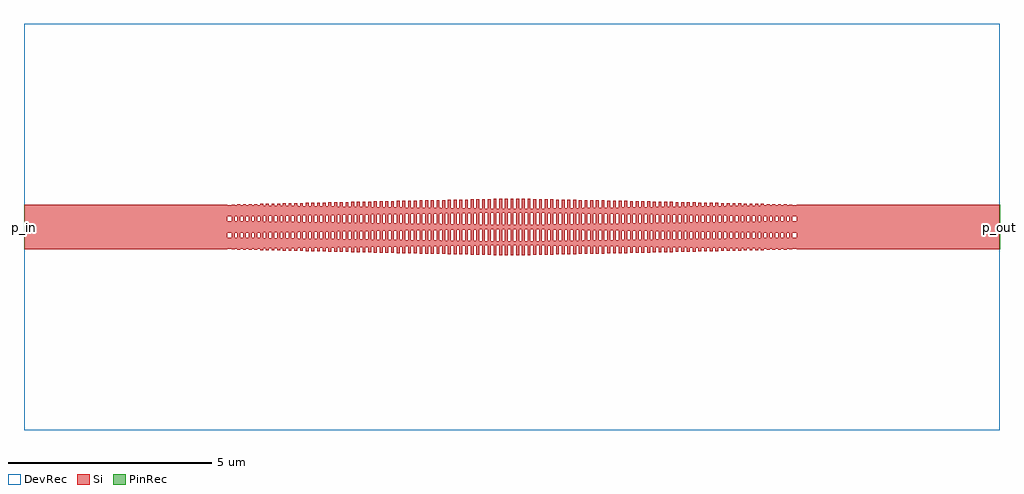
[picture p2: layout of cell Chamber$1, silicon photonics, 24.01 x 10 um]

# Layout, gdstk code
import gdstk
lib = gdstk.Library(unit=1e-6, precision=1e-09)
def R(c, l, rs):  # rectangles x0, y0, x1, y1
    for r in rs: c.add(gdstk.rectangle(r[:2], r[2:], *l))
def P(c, l, *ps):  # polygons
    for p in ps: c.add(gdstk.Polygon(p, *l))
Si = (1, 0)
PinRec = (1, 10)
DevRec = (68, 0)

u_corr50_2_1 = lib.new_cell('U_corr50$2$1')
R(u_corr50_2_1, Si, [(11.965,-0.7,12.035,0.7)])

u_corr98_1 = lib.new_cell('U_corr98$1')
R(u_corr98_1, Si, [(18.685,-0.556,18.755,0.556)])

u_corr97_1 = lib.new_cell('U_corr97$1')
R(u_corr97_1, Si, [(18.545,-0.559,18.615,0.559)])

u_corr96_1 = lib.new_cell('U_corr96$1')
R(u_corr96_1, Si, [(18.405,-0.562,18.475,0.562)])

u_corr95_1 = lib.new_cell('U_corr95$1')
R(u_corr95_1, Si, [(18.265,-0.565,18.335,0.565)])

u_corr94_1 = lib.new_cell('U_corr94$1')
R(u_corr94_1, Si, [(18.125,-0.568,18.195,0.568)])

u_corr93_1 = lib.new_cell('U_corr93$1')
R(u_corr93_1, Si, [(17.985,-0.571,18.055,0.571)])

u_corr92_1 = lib.new_cell('U_corr92$1')
R(u_corr92_1, Si, [(17.845,-0.574,17.915,0.574)])

u_corr91_1 = lib.new_cell('U_corr91$1')
R(u_corr91_1, Si, [(17.705,-0.577,17.775,0.577)])

u_corr90_1 = lib.new_cell('U_corr90$1')
R(u_corr90_1, Si, [(17.565,-0.58,17.635,0.58)])

u_corr89_1 = lib.new_cell('U_corr89$1')
R(u_corr89_1, Si, [(17.425,-0.583,17.495,0.583)])

u_corr88_1 = lib.new_cell('U_corr88$1')
R(u_corr88_1, Si, [(17.285,-0.586,17.355,0.586)])

u_corr87_1 = lib.new_cell('U_corr87$1')
R(u_corr87_1, Si, [(17.145,-0.589,17.215,0.589)])

u_corr86_1 = lib.new_cell('U_corr86$1')
R(u_corr86_1, Si, [(17.005,-0.592,17.075,0.592)])

u_corr85_1 = lib.new_cell('U_corr85$1')
R(u_corr85_1, Si, [(16.865,-0.595,16.935,0.595)])

u_corr84_1 = lib.new_cell('U_corr84$1')
R(u_corr84_1, Si, [(16.725,-0.598,16.795,0.598)])

u_corr83_1 = lib.new_cell('U_corr83$1')
R(u_corr83_1, Si, [(16.585,-0.601,16.655,0.601)])

u_corr82_1 = lib.new_cell('U_corr82$1')
R(u_corr82_1, Si, [(16.445,-0.604,16.515,0.604)])

u_corr81_1 = lib.new_cell('U_corr81$1')
R(u_corr81_1, Si, [(16.305,-0.607,16.375,0.607)])

u_corr80_2_1 = lib.new_cell('U_corr80$2$1')
R(u_corr80_2_1, Si, [(16.165,-0.61,16.235,0.61)])

u_corr79_2_1 = lib.new_cell('U_corr79$2$1')
R(u_corr79_2_1, Si, [(16.025,-0.613,16.095,0.613)])

u_corr78_2_1 = lib.new_cell('U_corr78$2$1')
R(u_corr78_2_1, Si, [(15.885,-0.616,15.955,0.616)])

u_corr77_2_1 = lib.new_cell('U_corr77$2$1')
R(u_corr77_2_1, Si, [(15.745,-0.619,15.815,0.619)])

u_corr76_2_1 = lib.new_cell('U_corr76$2$1')
R(u_corr76_2_1, Si, [(15.605,-0.622,15.675,0.622)])

u_corr75_2_1 = lib.new_cell('U_corr75$2$1')
R(u_corr75_2_1, Si, [(15.465,-0.625,15.535,0.625)])

u_corr74_2_1 = lib.new_cell('U_corr74$2$1')
R(u_corr74_2_1, Si, [(15.325,-0.628,15.395,0.628)])

u_corr73_2_1 = lib.new_cell('U_corr73$2$1')
R(u_corr73_2_1, Si, [(15.185,-0.631,15.255,0.631)])

u_corr72_2_1 = lib.new_cell('U_corr72$2$1')
R(u_corr72_2_1, Si, [(15.045,-0.634,15.115,0.634)])

u_corr71_2_1 = lib.new_cell('U_corr71$2$1')
R(u_corr71_2_1, Si, [(14.905,-0.637,14.975,0.637)])

u_corr70_2_1 = lib.new_cell('U_corr70$2$1')
R(u_corr70_2_1, Si, [(14.765,-0.64,14.835,0.64)])

u_corr69_2_1 = lib.new_cell('U_corr69$2$1')
R(u_corr69_2_1, Si, [(14.625,-0.643,14.695,0.643)])

u_corr68_2_1 = lib.new_cell('U_corr68$2$1')
R(u_corr68_2_1, Si, [(14.485,-0.646,14.555,0.646)])

u_corr67_2_1 = lib.new_cell('U_corr67$2$1')
R(u_corr67_2_1, Si, [(14.345,-0.649,14.415,0.649)])

u_corr66_2_1 = lib.new_cell('U_corr66$2$1')
R(u_corr66_2_1, Si, [(14.205,-0.652,14.275,0.652)])

u_corr65_2_1 = lib.new_cell('U_corr65$2$1')
R(u_corr65_2_1, Si, [(14.065,-0.655,14.135,0.655)])

u_corr64_2_1 = lib.new_cell('U_corr64$2$1')
R(u_corr64_2_1, Si, [(13.925,-0.658,13.995,0.658)])

u_corr63_2_1 = lib.new_cell('U_corr63$2$1')
R(u_corr63_2_1, Si, [(13.785,-0.661,13.855,0.661)])

u_corr62_2_1 = lib.new_cell('U_corr62$2$1')
R(u_corr62_2_1, Si, [(13.645,-0.664,13.715,0.664)])

u_corr61_2_1 = lib.new_cell('U_corr61$2$1')
R(u_corr61_2_1, Si, [(13.505,-0.667,13.575,0.667)])

u_corr60_2_1 = lib.new_cell('U_corr60$2$1')
R(u_corr60_2_1, Si, [(13.365,-0.67,13.435,0.67)])

u_corr59_2_1 = lib.new_cell('U_corr59$2$1')
R(u_corr59_2_1, Si, [(13.225,-0.673,13.295,0.673)])

u_corr58_2_1 = lib.new_cell('U_corr58$2$1')
R(u_corr58_2_1, Si, [(13.085,-0.676,13.155,0.676)])

u_corr57_2_1 = lib.new_cell('U_corr57$2$1')
R(u_corr57_2_1, Si, [(12.945,-0.679,13.015,0.679)])

u_corr56_2_1 = lib.new_cell('U_corr56$2$1')
R(u_corr56_2_1, Si, [(12.805,-0.682,12.875,0.682)])

u_corr55_2_1 = lib.new_cell('U_corr55$2$1')
R(u_corr55_2_1, Si, [(12.665,-0.685,12.735,0.685)])

u_corr54_2_1 = lib.new_cell('U_corr54$2$1')
R(u_corr54_2_1, Si, [(12.525,-0.688,12.595,0.688)])

u_corr53_2_1 = lib.new_cell('U_corr53$2$1')
R(u_corr53_2_1, Si, [(12.385,-0.691,12.455,0.691)])

u_corr52_2_1 = lib.new_cell('U_corr52$2$1')
R(u_corr52_2_1, Si, [(12.245,-0.694,12.315,0.694)])

u_corr51_2_1 = lib.new_cell('U_corr51$2$1')
R(u_corr51_2_1, Si, [(12.105,-0.697,12.175,0.697)])

u_corr99_1 = lib.new_cell('U_corr99$1')
R(u_corr99_1, Si, [(18.825,-0.553,18.895,0.553)])

wg_out_2_1 = lib.new_cell('wg_Out$2$1')
R(wg_out_2_1, Si, [(19,-0.55,24,0.55)])

taper_out3_1 = lib.new_cell('taper_out3$1')
P(taper_out3_1, Si, [(19,0.25),(12,0.35),(12,0.45),(19,0.55)])

taper_out2_1 = lib.new_cell('taper_out2$1')
P(taper_out2_1, Si, [(19,-0.15),(12,-0.05),(12,0.05),(19,0.15)])

taper_out1_1 = lib.new_cell('taper_out1$1')
P(taper_out1_1, Si, [(19,-0.55),(12,-0.45),(12,-0.35),(19,-0.25)])

u_corr45_2_1 = lib.new_cell('U_corr45$2$1')
R(u_corr45_2_1, Si, [(11.265,-0.685,11.335,0.685)])

u_corr44_2_1 = lib.new_cell('U_corr44$2$1')
R(u_corr44_2_1, Si, [(11.125,-0.682,11.195,0.682)])

u_corr43_2_1 = lib.new_cell('U_corr43$2$1')
R(u_corr43_2_1, Si, [(10.985,-0.679,11.055,0.679)])

u_corr42_2_1 = lib.new_cell('U_corr42$2$1')
R(u_corr42_2_1, Si, [(10.845,-0.676,10.915,0.676)])

u_corr41_2_1 = lib.new_cell('U_corr41$2$1')
R(u_corr41_2_1, Si, [(10.705,-0.673,10.775,0.673)])

u_corr40_2_1 = lib.new_cell('U_corr40$2$1')
R(u_corr40_2_1, Si, [(10.565,-0.67,10.635,0.67)])

u_corr39_2_1 = lib.new_cell('U_corr39$2$1')
R(u_corr39_2_1, Si, [(10.425,-0.667,10.495,0.667)])

u_corr38_2_1 = lib.new_cell('U_corr38$2$1')
R(u_corr38_2_1, Si, [(10.285,-0.664,10.355,0.664)])

u_corr37_2_1 = lib.new_cell('U_corr37$2$1')
R(u_corr37_2_1, Si, [(10.145,-0.661,10.215,0.661)])

u_corr36_2_1 = lib.new_cell('U_corr36$2$1')
R(u_corr36_2_1, Si, [(10.005,-0.658,10.075,0.658)])

u_corr35_2_1 = lib.new_cell('U_corr35$2$1')
R(u_corr35_2_1, Si, [(9.865,-0.655,9.935,0.655)])

u_corr34_2_1 = lib.new_cell('U_corr34$2$1')
R(u_corr34_2_1, Si, [(9.725,-0.652,9.795,0.652)])

u_corr33_2_1 = lib.new_cell('U_corr33$2$1')
R(u_corr33_2_1, Si, [(9.585,-0.649,9.655,0.649)])

u_corr32_2_1 = lib.new_cell('U_corr32$2$1')
R(u_corr32_2_1, Si, [(9.445,-0.646,9.515,0.646)])

u_corr31_2_1 = lib.new_cell('U_corr31$2$1')
R(u_corr31_2_1, Si, [(9.305,-0.643,9.375,0.643)])

u_corr30_2_1 = lib.new_cell('U_corr30$2$1')
R(u_corr30_2_1, Si, [(9.165,-0.64,9.235,0.64)])

u_corr29_2_1 = lib.new_cell('U_corr29$2$1')
R(u_corr29_2_1, Si, [(9.025,-0.637,9.095,0.637)])

u_corr28_2_1 = lib.new_cell('U_corr28$2$1')
R(u_corr28_2_1, Si, [(8.885,-0.634,8.955,0.634)])

u_corr27_2_1 = lib.new_cell('U_corr27$2$1')
R(u_corr27_2_1, Si, [(8.745,-0.631,8.815,0.631)])

u_corr26_2_1 = lib.new_cell('U_corr26$2$1')
R(u_corr26_2_1, Si, [(8.605,-0.628,8.675,0.628)])

u_corr25_2_1 = lib.new_cell('U_corr25$2$1')
R(u_corr25_2_1, Si, [(8.465,-0.625,8.535,0.625)])

u_corr24_2_1 = lib.new_cell('U_corr24$2$1')
R(u_corr24_2_1, Si, [(8.325,-0.622,8.395,0.622)])

u_corr23_2_1 = lib.new_cell('U_corr23$2$1')
R(u_corr23_2_1, Si, [(8.185,-0.619,8.255,0.619)])

u_corr22_2_1 = lib.new_cell('U_corr22$2$1')
R(u_corr22_2_1, Si, [(8.045,-0.616,8.115,0.616)])

u_corr21_2_1 = lib.new_cell('U_corr21$2$1')
R(u_corr21_2_1, Si, [(7.905,-0.613,7.975,0.613)])

u_corr20_2_1 = lib.new_cell('U_corr20$2$1')
R(u_corr20_2_1, Si, [(7.765,-0.61,7.835,0.61)])

u_corr19_2_1 = lib.new_cell('U_corr19$2$1')
R(u_corr19_2_1, Si, [(7.625,-0.607,7.695,0.607)])

u_corr18_2_1 = lib.new_cell('U_corr18$2$1')
R(u_corr18_2_1, Si, [(7.485,-0.604,7.555,0.604)])

u_corr17_2_1 = lib.new_cell('U_corr17$2$1')
R(u_corr17_2_1, Si, [(7.345,-0.601,7.415,0.601)])

u_corr16_2_1 = lib.new_cell('U_corr16$2$1')
R(u_corr16_2_1, Si, [(7.205,-0.598,7.275,0.598)])

u_corr15_2_1 = lib.new_cell('U_corr15$2$1')
R(u_corr15_2_1, Si, [(7.065,-0.595,7.135,0.595)])

u_corr14_2_1 = lib.new_cell('U_corr14$2$1')
R(u_corr14_2_1, Si, [(6.925,-0.592,6.995,0.592)])

u_corr13_2_1 = lib.new_cell('U_corr13$2$1')
R(u_corr13_2_1, Si, [(6.785,-0.589,6.855,0.589)])

u_corr12_2_1 = lib.new_cell('U_corr12$2$1')
R(u_corr12_2_1, Si, [(6.645,-0.586,6.715,0.586)])

u_corr11_2_1 = lib.new_cell('U_corr11$2$1')
R(u_corr11_2_1, Si, [(6.505,-0.583,6.575,0.583)])

u_corr10_2_1 = lib.new_cell('U_corr10$2$1')
R(u_corr10_2_1, Si, [(6.365,-0.58,6.435,0.58)])

u_corr9_2_1 = lib.new_cell('U_corr9$2$1')
R(u_corr9_2_1, Si, [(6.225,-0.577,6.295,0.577)])

u_corr8_2_1 = lib.new_cell('U_corr8$2$1')
R(u_corr8_2_1, Si, [(6.085,-0.574,6.155,0.574)])

u_corr7_2_1 = lib.new_cell('U_corr7$2$1')
R(u_corr7_2_1, Si, [(5.945,-0.571,6.015,0.571)])

u_corr6_2_1 = lib.new_cell('U_corr6$2$1')
R(u_corr6_2_1, Si, [(5.805,-0.568,5.875,0.568)])

u_corr5_2_1 = lib.new_cell('U_corr5$2$1')
R(u_corr5_2_1, Si, [(5.665,-0.565,5.735,0.565)])

u_corr4_2_1 = lib.new_cell('U_corr4$2$1')
R(u_corr4_2_1, Si, [(5.525,-0.562,5.595,0.562)])

u_corr3_2_1 = lib.new_cell('U_corr3$2$1')
R(u_corr3_2_1, Si, [(5.385,-0.559,5.455,0.559)])

u_corr2_2_1 = lib.new_cell('U_corr2$2$1')
R(u_corr2_2_1, Si, [(5.245,-0.556,5.315,0.556)])

u_corr1_2_1 = lib.new_cell('U_corr1$2$1')
R(u_corr1_2_1, Si, [(5.105,-0.553,5.175,0.553)])

u_corr49_2_1 = lib.new_cell('U_corr49$2$1')
R(u_corr49_2_1, Si, [(11.825,-0.697,11.895,0.697)])

u_corr48_2_1 = lib.new_cell('U_corr48$2$1')
R(u_corr48_2_1, Si, [(11.685,-0.694,11.755,0.694)])

u_corr47_2_1 = lib.new_cell('U_corr47$2$1')
R(u_corr47_2_1, Si, [(11.545,-0.691,11.615,0.691)])

u_corr46_2_1 = lib.new_cell('U_corr46$2$1')
R(u_corr46_2_1, Si, [(11.405,-0.688,11.475,0.688)])

taper_3_2 = lib.new_cell('taper_3$2')
P(taper_3_2, Si, [(5,0.25),(5,0.55),(12,0.45),(12,0.35)])

taper_2_2 = lib.new_cell('taper_2$2')
P(taper_2_2, Si, [(5,-0.15),(5,0.15),(12,0.05),(12,-0.05)])

taper_1_2 = lib.new_cell('taper_1$2')
P(taper_1_2, Si, [(5,-0.55),(5,-0.25),(12,-0.35),(12,-0.45)])

wg_in_2_1 = lib.new_cell('wg_In$2$1')
R(wg_in_2_1, Si, [(0,-0.55,5,0.55)])

mm_bragg_2_1 = lib.new_cell('MM_Bragg$2$1')
mm_bragg_2_1.add(gdstk.Reference(u_corr50_2_1, (0,0)))
mm_bragg_2_1.add(gdstk.Reference(u_corr98_1, (0,0)))
mm_bragg_2_1.add(gdstk.Reference(u_corr97_1, (0,0)))
mm_bragg_2_1.add(gdstk.Reference(u_corr96_1, (0,0)))
mm_bragg_2_1.add(gdstk.Reference(u_corr95_1, (0,0)))
mm_bragg_2_1.add(gdstk.Reference(u_corr94_1, (0,0)))
mm_bragg_2_1.add(gdstk.Reference(u_corr93_1, (0,0)))
mm_bragg_2_1.add(gdstk.Reference(u_corr92_1, (0,0)))
mm_bragg_2_1.add(gdstk.Reference(u_corr91_1, (0,0)))
mm_bragg_2_1.add(gdstk.Reference(u_corr90_1, (0,0)))
mm_bragg_2_1.add(gdstk.Reference(u_corr89_1, (0,0)))
mm_bragg_2_1.add(gdstk.Reference(u_corr88_1, (0,0)))
mm_bragg_2_1.add(gdstk.Reference(u_corr87_1, (0,0)))
mm_bragg_2_1.add(gdstk.Reference(u_corr86_1, (0,0)))
mm_bragg_2_1.add(gdstk.Reference(u_corr85_1, (0,0)))
mm_bragg_2_1.add(gdstk.Reference(u_corr84_1, (0,0)))
mm_bragg_2_1.add(gdstk.Reference(u_corr83_1, (0,0)))
mm_bragg_2_1.add(gdstk.Reference(u_corr82_1, (0,0)))
mm_bragg_2_1.add(gdstk.Reference(u_corr81_1, (0,0)))
mm_bragg_2_1.add(gdstk.Reference(u_corr80_2_1, (0,0)))
mm_bragg_2_1.add(gdstk.Reference(u_corr79_2_1, (0,0)))
mm_bragg_2_1.add(gdstk.Reference(u_corr78_2_1, (0,0)))
mm_bragg_2_1.add(gdstk.Reference(u_corr77_2_1, (0,0)))
mm_bragg_2_1.add(gdstk.Reference(u_corr76_2_1, (0,0)))
mm_bragg_2_1.add(gdstk.Reference(u_corr75_2_1, (0,0)))
mm_bragg_2_1.add(gdstk.Reference(u_corr74_2_1, (0,0)))
mm_bragg_2_1.add(gdstk.Reference(u_corr73_2_1, (0,0)))
mm_bragg_2_1.add(gdstk.Reference(u_corr72_2_1, (0,0)))
mm_bragg_2_1.add(gdstk.Reference(u_corr71_2_1, (0,0)))
mm_bragg_2_1.add(gdstk.Reference(u_corr70_2_1, (0,0)))
mm_bragg_2_1.add(gdstk.Reference(u_corr69_2_1, (0,0)))
mm_bragg_2_1.add(gdstk.Reference(u_corr68_2_1, (0,0)))
mm_bragg_2_1.add(gdstk.Reference(u_corr67_2_1, (0,0)))
mm_bragg_2_1.add(gdstk.Reference(u_corr66_2_1, (0,0)))
mm_bragg_2_1.add(gdstk.Reference(u_corr65_2_1, (0,0)))
mm_bragg_2_1.add(gdstk.Reference(u_corr64_2_1, (0,0)))
mm_bragg_2_1.add(gdstk.Reference(u_corr63_2_1, (0,0)))
mm_bragg_2_1.add(gdstk.Reference(u_corr62_2_1, (0,0)))
mm_bragg_2_1.add(gdstk.Reference(u_corr61_2_1, (0,0)))
mm_bragg_2_1.add(gdstk.Reference(u_corr60_2_1, (0,0)))
mm_bragg_2_1.add(gdstk.Reference(u_corr59_2_1, (0,0)))
mm_bragg_2_1.add(gdstk.Reference(u_corr58_2_1, (0,0)))
mm_bragg_2_1.add(gdstk.Reference(u_corr57_2_1, (0,0)))
mm_bragg_2_1.add(gdstk.Reference(u_corr56_2_1, (0,0)))
mm_bragg_2_1.add(gdstk.Reference(u_corr55_2_1, (0,0)))
mm_bragg_2_1.add(gdstk.Reference(u_corr54_2_1, (0,0)))
mm_bragg_2_1.add(gdstk.Reference(u_corr53_2_1, (0,0)))
mm_bragg_2_1.add(gdstk.Reference(u_corr52_2_1, (0,0)))
mm_bragg_2_1.add(gdstk.Reference(u_corr51_2_1, (0,0)))
mm_bragg_2_1.add(gdstk.Reference(u_corr99_1, (0,0)))
mm_bragg_2_1.add(gdstk.Reference(wg_out_2_1, (0,0)))
mm_bragg_2_1.add(gdstk.Reference(taper_out3_1, (0,0)))
mm_bragg_2_1.add(gdstk.Reference(taper_out2_1, (0,0)))
mm_bragg_2_1.add(gdstk.Reference(taper_out1_1, (0,0)))
mm_bragg_2_1.add(gdstk.Reference(u_corr45_2_1, (0,0)))
mm_bragg_2_1.add(gdstk.Reference(u_corr44_2_1, (0,0)))
mm_bragg_2_1.add(gdstk.Reference(u_corr43_2_1, (0,0)))
mm_bragg_2_1.add(gdstk.Reference(u_corr42_2_1, (0,0)))
mm_bragg_2_1.add(gdstk.Reference(u_corr41_2_1, (0,0)))
mm_bragg_2_1.add(gdstk.Reference(u_corr40_2_1, (0,0)))
mm_bragg_2_1.add(gdstk.Reference(u_corr39_2_1, (0,0)))
mm_bragg_2_1.add(gdstk.Reference(u_corr38_2_1, (0,0)))
mm_bragg_2_1.add(gdstk.Reference(u_corr37_2_1, (0,0)))
mm_bragg_2_1.add(gdstk.Reference(u_corr36_2_1, (0,0)))
mm_bragg_2_1.add(gdstk.Reference(u_corr35_2_1, (0,0)))
mm_bragg_2_1.add(gdstk.Reference(u_corr34_2_1, (0,0)))
mm_bragg_2_1.add(gdstk.Reference(u_corr33_2_1, (0,0)))
mm_bragg_2_1.add(gdstk.Reference(u_corr32_2_1, (0,0)))
mm_bragg_2_1.add(gdstk.Reference(u_corr31_2_1, (0,0)))
mm_bragg_2_1.add(gdstk.Reference(u_corr30_2_1, (0,0)))
mm_bragg_2_1.add(gdstk.Reference(u_corr29_2_1, (0,0)))
mm_bragg_2_1.add(gdstk.Reference(u_corr28_2_1, (0,0)))
mm_bragg_2_1.add(gdstk.Reference(u_corr27_2_1, (0,0)))
mm_bragg_2_1.add(gdstk.Reference(u_corr26_2_1, (0,0)))
mm_bragg_2_1.add(gdstk.Reference(u_corr25_2_1, (0,0)))
mm_bragg_2_1.add(gdstk.Reference(u_corr24_2_1, (0,0)))
mm_bragg_2_1.add(gdstk.Reference(u_corr23_2_1, (0,0)))
mm_bragg_2_1.add(gdstk.Reference(u_corr22_2_1, (0,0)))
mm_bragg_2_1.add(gdstk.Reference(u_corr21_2_1, (0,0)))
mm_bragg_2_1.add(gdstk.Reference(u_corr20_2_1, (0,0)))
mm_bragg_2_1.add(gdstk.Reference(u_corr19_2_1, (0,0)))
mm_bragg_2_1.add(gdstk.Reference(u_corr18_2_1, (0,0)))
mm_bragg_2_1.add(gdstk.Reference(u_corr17_2_1, (0,0)))
mm_bragg_2_1.add(gdstk.Reference(u_corr16_2_1, (0,0)))
mm_bragg_2_1.add(gdstk.Reference(u_corr15_2_1, (0,0)))
mm_bragg_2_1.add(gdstk.Reference(u_corr14_2_1, (0,0)))
mm_bragg_2_1.add(gdstk.Reference(u_corr13_2_1, (0,0)))
mm_bragg_2_1.add(gdstk.Reference(u_corr12_2_1, (0,0)))
mm_bragg_2_1.add(gdstk.Reference(u_corr11_2_1, (0,0)))
mm_bragg_2_1.add(gdstk.Reference(u_corr10_2_1, (0,0)))
mm_bragg_2_1.add(gdstk.Reference(u_corr9_2_1, (0,0)))
mm_bragg_2_1.add(gdstk.Reference(u_corr8_2_1, (0,0)))
mm_bragg_2_1.add(gdstk.Reference(u_corr7_2_1, (0,0)))
mm_bragg_2_1.add(gdstk.Reference(u_corr6_2_1, (0,0)))
mm_bragg_2_1.add(gdstk.Reference(u_corr5_2_1, (0,0)))
mm_bragg_2_1.add(gdstk.Reference(u_corr4_2_1, (0,0)))
mm_bragg_2_1.add(gdstk.Reference(u_corr3_2_1, (0,0)))
mm_bragg_2_1.add(gdstk.Reference(u_corr2_2_1, (0,0)))
mm_bragg_2_1.add(gdstk.Reference(u_corr1_2_1, (0,0)))
mm_bragg_2_1.add(gdstk.Reference(u_corr49_2_1, (0,0)))
mm_bragg_2_1.add(gdstk.Reference(u_corr48_2_1, (0,0)))
mm_bragg_2_1.add(gdstk.Reference(u_corr47_2_1, (0,0)))
mm_bragg_2_1.add(gdstk.Reference(u_corr46_2_1, (0,0)))
mm_bragg_2_1.add(gdstk.Reference(taper_3_2, (0,0)))
mm_bragg_2_1.add(gdstk.Reference(taper_2_2, (0,0)))
mm_bragg_2_1.add(gdstk.Reference(taper_1_2, (0,0)))
mm_bragg_2_1.add(gdstk.Reference(wg_in_2_1, (0,0)))

chamber_1 = lib.new_cell('Chamber$1')
R(chamber_1, DevRec, [(0,-5,24,5)])
chamber_1.add(gdstk.FlexPath([(0.005,0),(-0.005,0)], 1.1, ends="flush", simple_path=True, layer=1, datatype=10))  # PinRec
chamber_1.add(gdstk.FlexPath([(23.995,0),(24.005,0)], 1.1, ends="flush", simple_path=True, layer=1, datatype=10))  # PinRec
chamber_1.add(gdstk.Reference(mm_bragg_2_1, (0,0)))
chamber_1.add(gdstk.Label('p_in', (0,0), layer=1, texttype=10))
chamber_1.add(gdstk.Label('p_out', (24,0), layer=1, texttype=10))

lib.write_gds('Chamber_1.gds')
